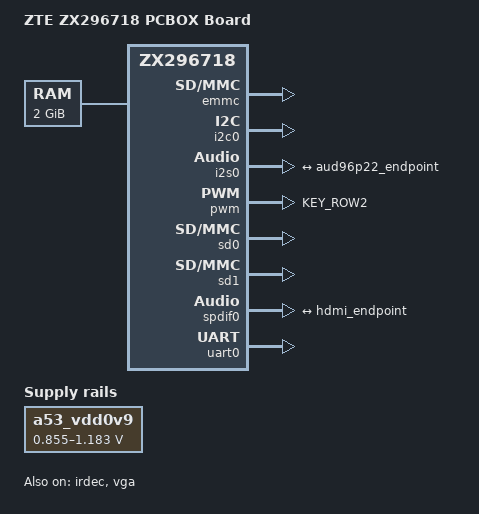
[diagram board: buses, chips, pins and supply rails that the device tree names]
/*
 * Copyright (C) 2017 Sanechips Technology Co., Ltd.
 * Copyright 2017 Linaro Ltd.
 *
 * SPDX-License-Identifier: (GPL-2.0+ OR MIT)
 */

/dts-v1/;
#include "zx296718.dtsi"
#include <dt-bindings/pwm/pwm.h>

/ {
	model = "ZTE ZX296718 PCBOX Board";
	compatible = "zte,zx296718-pcbox", "zte,zx296718";

	chosen {
		stdout-path = "serial0:115200n8";
	};

	memory@80000000 {
		device_type = "memory";
		reg = <0x80000000 0x80000000>;
	};

	a53_vdd0v9: regulator-a53 {
		compatible = "pwm-regulator";
		pwms = <&pwm 3 1250 PWM_POLARITY_INVERTED>;
		regulator-name = "A53_VDD0V9";
		regulator-min-microvolt = <855000>;
		regulator-max-microvolt = <1183000>;
		pwm-dutycycle-unit = <100>;
		pwm-dutycycle-range = <0 100>;
		regulator-always-on;
		regulator-boot-on;
	};

	sound-spdif0 {
		compatible = "audio-graph-card";
		dais = <&spdif0_port>;
	};

	sound-i2s0 {
		compatible = "audio-graph-card";
		dais = <&i2s0_port>;
	};
};

&aud96p22 {
	port {
		aud96p22_endpoint: endpoint {
			remote-endpoint = <&i2s0_endpoint>;
		};
	};
};

&cpu0 {
	cpu-supply = <&a53_vdd0v9>;
};

&emmc {
	status = "okay";
};

&hdmi {
	status = "disabled";

	port {
		hdmi_endpoint: endpoint {
			remote-endpoint = <&spdif0_endpoint>;
		};
	};
};

&i2c0 {
	status = "okay";
};

&i2s0 {
	status = "okay";

	i2s0_port: port {
		i2s0_endpoint: endpoint {
			remote-endpoint = <&aud96p22_endpoint>;
			dai-format = "i2s";
			frame-master;
			bitclock-master;
		};
	};
};

&irdec {
	status = "okay";
};

&pmm {
	pwm3_pins: pwm3 {
		pins = "KEY_ROW2";
		function = "PWM";
	};

	vga_pins: vga {
		pins = "KEY_COL1", "KEY_COL2", "VGA_HS", "VGA_VS";
		function = "VGA";
	};
};

&pwm {
	pinctrl-names = "default";
	pinctrl-0 = <&pwm3_pins>;
	status = "okay";
};

&sd0 {
	status = "okay";
};

&sd1 {
	status = "okay";
};

&spdif0 {
	status = "okay";

	spdif0_port: port {
		spdif0_endpoint: endpoint {
			remote-endpoint = <&hdmi_endpoint>;
		};
	};
};

&tvenc {
	status = "disabled";
};

&uart0 {
	status = "okay";
};

&vga {
	pinctrl-names = "default";
	pinctrl-0 = <&vga_pins>;
	status = "okay";
};
